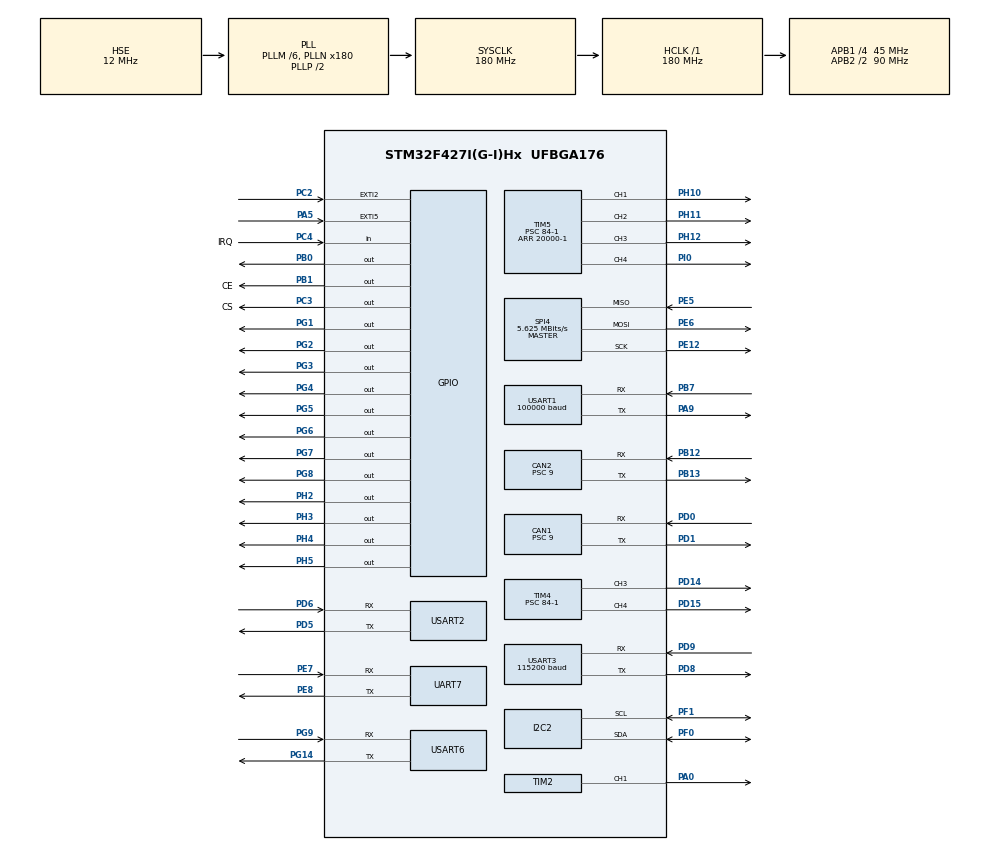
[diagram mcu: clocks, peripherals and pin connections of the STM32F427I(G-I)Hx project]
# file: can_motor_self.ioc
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CAN1.ABOM=DISABLE
CAN1.AWUM=DISABLE
CAN1.BS1=CAN_BS1_2TQ
CAN1.BS2=CAN_BS2_2TQ
CAN1.CalculateBaudRate=1000000
CAN1.CalculateTimeBit=1000
CAN1.CalculateTimeQuantum=200.0
CAN1.Prescaler=9
CAN1.TTCM=DISABLE
CAN2.BS1=CAN_BS1_2TQ
CAN2.BS2=CAN_BS2_2TQ
CAN2.CalculateBaudRate=1000000
CAN2.CalculateTimeBit=1000
CAN2.CalculateTimeQuantum=200.0
CAN2.Prescaler=9
Dma.Request0=USART2_RX
Dma.Request1=USART2_TX
Dma.Request2=USART3_RX
Dma.Request3=USART6_RX
Dma.USART2_RX.0.Direction=DMA_PERIPH_TO_MEMORY
Dma.USART2_RX.0.FIFOMode=DMA_FIFOMODE_DISABLE
Dma.USART2_RX.0.Instance=DMA1_Stream5
Dma.USART2_RX.0.MemDataAlignment=DMA_MDATAALIGN_BYTE
Dma.USART2_RX.0.MemInc=DMA_MINC_ENABLE
Dma.USART2_RX.0.Mode=DMA_NORMAL
Dma.USART2_RX.0.PeriphDataAlignment=DMA_PDATAALIGN_BYTE
Dma.USART2_RX.0.PeriphInc=DMA_PINC_DISABLE
Dma.USART2_RX.0.Priority=DMA_PRIORITY_LOW
Dma.USART2_TX.1.Direction=DMA_MEMORY_TO_PERIPH
Dma.USART2_TX.1.FIFOMode=DMA_FIFOMODE_DISABLE
Dma.USART2_TX.1.Instance=DMA1_Stream6
Dma.USART2_TX.1.MemDataAlignment=DMA_MDATAALIGN_BYTE
Dma.USART2_TX.1.MemInc=DMA_MINC_ENABLE
Dma.USART2_TX.1.Mode=DMA_NORMAL
Dma.USART2_TX.1.PeriphDataAlignment=DMA_PDATAALIGN_BYTE
Dma.USART2_TX.1.PeriphInc=DMA_PINC_DISABLE
Dma.USART2_TX.1.Priority=DMA_PRIORITY_LOW
Dma.USART3_RX.2.Direction=DMA_PERIPH_TO_MEMORY
Dma.USART3_RX.2.FIFOMode=DMA_FIFOMODE_DISABLE
Dma.USART3_RX.2.Instance=DMA1_Stream1
Dma.USART3_RX.2.MemDataAlignment=DMA_MDATAALIGN_BYTE
Dma.USART3_RX.2.MemInc=DMA_MINC_ENABLE
Dma.USART3_RX.2.Mode=DMA_NORMAL
Dma.USART3_RX.2.PeriphDataAlignment=DMA_PDATAALIGN_BYTE
Dma.USART3_RX.2.PeriphInc=DMA_PINC_DISABLE
Dma.USART3_RX.2.Priority=DMA_PRIORITY_LOW
Dma.USART6_RX.3.Direction=DMA_PERIPH_TO_MEMORY
Dma.USART6_RX.3.FIFOMode=DMA_FIFOMODE_DISABLE
Dma.USART6_RX.3.Instance=DMA2_Stream1
Dma.USART6_RX.3.MemDataAlignment=DMA_MDATAALIGN_BYTE
Dma.USART6_RX.3.MemInc=DMA_MINC_ENABLE
Dma.USART6_RX.3.Mode=DMA_NORMAL
Dma.USART6_RX.3.PeriphDataAlignment=DMA_PDATAALIGN_BYTE
Dma.USART6_RX.3.PeriphInc=DMA_PINC_DISABLE
Dma.USART6_RX.3.Priority=DMA_PRIORITY_LOW
Mcu.Family=STM32F4
Mcu.Name=STM32F427I(G-I)Hx
Mcu.Package=UFBGA176
NVIC.CAN1_RX0_IRQn=true\:0\:0\:false\:false\:true\:true\:true\:true
NVIC.CAN2_RX0_IRQn=true\:0\:0\:false\:false\:true\:true\:true\:true
NVIC.DMA1_Stream1_IRQn=true\:0\:0\:false\:false\:true\:false\:true\:true
NVIC.DMA1_Stream5_IRQn=true\:0\:0\:false\:false\:true\:false\:true\:true
NVIC.DMA1_Stream6_IRQn=true\:0\:0\:false\:false\:true\:false\:true\:true
NVIC.DMA2_Stream1_IRQn=true\:0\:0\:false\:false\:true\:false\:true\:true
NVIC.PriorityGroup=NVIC_PRIORITYGROUP_4
NVIC.TIM1_UP_TIM10_IRQn=true\:15\:0\:false\:false\:true\:false\:true\:true
NVIC.TimeBase=TIM1_UP_TIM10_IRQn
NVIC.TimeBaseIP=TIM1
NVIC.UART7_IRQn=true\:0\:0\:false\:false\:true\:true\:true\:true
NVIC.USART1_IRQn=true\:0\:0\:false\:false\:true\:true\:true\:true
NVIC.USART2_IRQn=true\:0\:0\:false\:false\:true\:true\:true\:true
NVIC.USART3_IRQn=true\:0\:0\:false\:false\:true\:true\:true\:true
NVIC.USART6_IRQn=true\:0\:0\:false\:false\:true\:true\:true\:true
PA0/WKUP.Signal=S_TIM2_CH1_ETR
PA1.Signal=S_TIM2_CH2
PA13.Mode=Serial_Wire
PA13.Signal=SYS_JTMS-SWDIO
PA14.Mode=Serial_Wire
PA14.Signal=SYS_JTCK-SWCLK
PA2.Signal=S_TIM2_CH3
PA5.Signal=GPXTI5
PA9.Mode=Asynchronous
PA9.Signal=USART1_TX
PB0.PinState=GPIO_PIN_SET
PB0.Signal=GPIO_Output
PB1.GPIO_Label=CE
PB1.GPIO_PuPd=GPIO_PULLUP
PB1.GPIO_Speed=GPIO_SPEED_FREQ_HIGH
PB1.PinState=GPIO_PIN_SET
PB1.Signal=GPIO_Output
PB12.Mode=CAN_Activate
PB12.Signal=CAN2_RX
PB13.Mode=CAN_Activate
PB13.Signal=CAN2_TX
PB7.Mode=Asynchronous
PB7.Signal=USART1_RX
PC2.Signal=GPXTI2
PC3.GPIO_Label=CS
PC3.GPIO_PuPd=GPIO_PULLUP
PC3.GPIO_Speed=GPIO_SPEED_FREQ_HIGH
PC3.PinState=GPIO_PIN_SET
PC3.Signal=GPIO_Output
PC4.GPIO_Label=IRQ
PC4.GPIO_PuPd=GPIO_PULLUP
PC4.Signal=GPIO_Input
PD0.Mode=CAN_Activate
PD0.Signal=CAN1_RX
PD1.Mode=CAN_Activate
PD1.Signal=CAN1_TX
PD14.Signal=S_TIM4_CH3
PD15.Signal=S_TIM4_CH4
PD5.Mode=Asynchronous
PD5.Signal=USART2_TX
PD6.Mode=Asynchronous
PD6.Signal=USART2_RX
PD8.Mode=Asynchronous
PD8.Signal=USART3_TX
PD9.Mode=Asynchronous
PD9.Signal=USART3_RX
PE12.Mode=Full_Duplex_Master
PE12.Signal=SPI4_SCK
PE5.Mode=Full_Duplex_Master
PE5.Signal=SPI4_MISO
PE6.Mode=Full_Duplex_Master
PE6.Signal=SPI4_MOSI
PE7.Mode=Asynchronous
PE7.Signal=UART7_RX
PE8.Mode=Asynchronous
PE8.Signal=UART7_TX
PF0.Mode=I2C
PF0.Signal=I2C2_SDA
PF1.Mode=I2C
PF1.Signal=I2C2_SCL
PG1.GPIO_ModeDefaultOutputPP=GPIO_MODE_OUTPUT_PP
PG1.GPIO_PuPd=GPIO_PULLUP
PG1.Signal=GPIO_Output
PG14.Mode=Asynchronous
PG14.Signal=USART6_TX
PG2.Signal=GPIO_Output
PG3.Signal=GPIO_Output
PG4.Signal=GPIO_Output
PG5.Signal=GPIO_Output
PG6.Signal=GPIO_Output
PG7.Signal=GPIO_Output
PG8.Signal=GPIO_Output
PG9.Mode=Asynchronous
PG9.Signal=USART6_RX
PH0/OSC_IN.Mode=HSE-External-Oscillator
PH0/OSC_IN.Signal=RCC_OSC_IN
PH1/OSC_OUT.Mode=HSE-External-Oscillator
PH1/OSC_OUT.Signal=RCC_OSC_OUT
PH10.Signal=S_TIM5_CH1
PH11.Signal=S_TIM5_CH2
PH12.Signal=S_TIM5_CH3
PH2.GPIO_PuPd=GPIO_PULLUP
PH2.Signal=GPIO_Output
PH3.GPIO_PuPd=GPIO_PULLUP
PH3.Signal=GPIO_Output
PH4.GPIO_PuPd=GPIO_PULLUP
PH4.PinState=GPIO_PIN_SET
PH4.Signal=GPIO_Output
PH5.GPIO_PuPd=GPIO_PULLUP
PH5.PinState=GPIO_PIN_RESET
PH5.Signal=GPIO_Output
PI0.Signal=S_TIM5_CH4
ProjectManager.HeapSize=0x200
ProjectManager.StackSize=0x400
ProjectManager.TargetToolchain=MDK-ARM V5.32
RCC.48MHZClocksFreq_Value=90000000
RCC.AHBFreq_Value=180000000
RCC.APB1CLKDivider=RCC_HCLK_DIV4
RCC.APB1Freq_Value=45000000
RCC.APB1TimFreq_Value=90000000
RCC.APB2CLKDivider=RCC_HCLK_DIV2
RCC.APB2Freq_Value=90000000
RCC.APB2TimFreq_Value=180000000
RCC.CortexFreq_Value=180000000
RCC.HCLKFreq_Value=180000000
RCC.HSE_VALUE=12000000
RCC.HSI_VALUE=16000000
RCC.LSE_VALUE=32768
RCC.PLLM=6
RCC.PLLN=180
RCC.PLLSourceVirtual=RCC_PLLSOURCE_HSE
RCC.SYSCLKFreq_VALUE=180000000
RCC.SYSCLKSource=RCC_SYSCLKSOURCE_PLLCLK
RCC.VCOOutputFreq_Value=360000000
SH.S_TIM2_CH1_ETR.0=TIM2_CH1,PWM Generation1 CH1
SH.S_TIM2_CH2.0=TIM2_CH2
SH.S_TIM2_CH3.0=TIM2_CH3
SH.S_TIM4_CH3.0=TIM4_CH3,PWM Generation3 CH3
SH.S_TIM4_CH4.0=TIM4_CH4,PWM Generation4 CH4
SH.S_TIM5_CH1.0=TIM5_CH1,PWM Generation1 CH1
SH.S_TIM5_CH2.0=TIM5_CH2,PWM Generation2 CH2
SH.S_TIM5_CH3.0=TIM5_CH3,PWM Generation3 CH3
SH.S_TIM5_CH4.0=TIM5_CH4,PWM Generation4 CH4
SPI4.BaudRatePrescaler=SPI_BAUDRATEPRESCALER_16
SPI4.CLKPhase=SPI_PHASE_1EDGE
SPI4.CLKPolarity=SPI_POLARITY_LOW
SPI4.CRCCalculation=SPI_CRCCALCULATION_DISABLE
SPI4.CalculateBaudRate=5.625 MBits/s
SPI4.DataSize=SPI_DATASIZE_8BIT
SPI4.Direction=SPI_DIRECTION_2LINES
SPI4.Mode=SPI_MODE_MASTER
SPI4.VirtualType=VM_MASTER
TIM2.AutoReloadPreload=TIM_AUTORELOAD_PRELOAD_ENABLE
TIM2.Channel-PWM\ Generation1\ CH1=TIM_CHANNEL_1
TIM2.Period=2000
TIM2.Prescaler=180-1
TIM2.Pulse-PWM\ Generation1\ CH1=0
TIM4.AutoReloadPreload=TIM_AUTORELOAD_PRELOAD_ENABLE
TIM4.Channel-PWM\ Generation3\ CH3=TIM_CHANNEL_3
TIM4.Channel-PWM\ Generation4\ CH4=TIM_CHANNEL_4
TIM4.Period=20000-1
TIM4.Prescaler=84-1
TIM5.AutoReloadPreload=TIM_AUTORELOAD_PRELOAD_ENABLE
TIM5.Channel-PWM\ Generation1\ CH1=TIM_CHANNEL_1
TIM5.Channel-PWM\ Generation2\ CH2=TIM_CHANNEL_2
TIM5.Channel-PWM\ Generation3\ CH3=TIM_CHANNEL_3
TIM5.Channel-PWM\ Generation4\ CH4=TIM_CHANNEL_4
TIM5.Period=20000-1
TIM5.Prescaler=84-1
UART7.VirtualMode=Asynchronous
USART1.BaudRate=100000
USART1.Mode=MODE_RX
USART1.VirtualMode=VM_ASYNC
USART2.VirtualMode=VM_ASYNC
USART3.BaudRate=115200
USART3.VirtualMode=VM_ASYNC
USART6.VirtualMode=VM_ASYNC
VP_SYS_VS_tim1.Mode=TIM1
VP_TIM2_VS_ClockSourceINT.Mode=Internal
board=custom

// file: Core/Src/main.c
/* USER CODE BEGIN Header */
/**
  ******************************************************************************
  * @file           : main.c
  * @brief          : Main program body
  ******************************************************************************
  * @attention
  *
  * Copyright (c) 2024 STMicroelectronics.
  * All rights reserved.
  *
  * This software is licensed under terms that can be found in the LICENSE file
  * in the root directory of this software component.
  * If no LICENSE file comes with this software, it is provided AS-IS.
  *
  ******************************************************************************
  */
/* USER CODE END Header */
#include "main.h"
#include "can.h"
#include "dma.h"
#include "i2c.h"
#include "spi.h"
#include "tim.h"
#include "usart.h"
#include "gpio.h"

/* USER CODE BEGIN Includes */
#include "CAN_receive.h"
#include "bsp_can.h"
#include "A_bsp.h"
#include "motor.h"
#include "Servos.h"
#include "nrf24L01.h"
#include "stdio.h"
#include "remote_control.h"
#include "Vofa_firewater.h"
#include "JY901.h"
#include "JY901_struct.h"
/* USER CODE END Includes */

/* USER CODE BEGIN PV */
extern User_USART JY901_data;
/* USER CODE END PV */

void SystemClock_Config(void);

int main(void)
{

  /* MCU Configuration--------------------------------------------------------*/

  /* Reset of all peripherals, Initializes the Flash interface and the Systick. */
  HAL_Init();

  /* Configure the system clock */
  SystemClock_Config();

  /* Initialize all configured peripherals */
  MX_GPIO_Init();
  MX_DMA_Init();
  MX_CAN1_Init();
  MX_TIM2_Init();
  MX_SPI4_Init();
  MX_USART2_UART_Init();
  MX_I2C2_Init();
  MX_TIM5_Init();
  MX_USART1_UART_Init();
  MX_CAN2_Init();
  MX_TIM4_Init();
  MX_USART3_UART_Init();
  MX_UART7_Init();
  MX_USART6_UART_Init();

  /* Infinite loop */
  /* USER CODE BEGIN WHILE */
//	chassis_init(&chassis_move);

	User_USART_Init(&JY901_data);
	HAL_UART_Receive_DMA(&huart6,JY901_data.RxBuffer,RXBUFFER_LEN);
  while (1)
  {
		HAL_UART_Receive_DMA(&huart6,JY901_data.RxBuffer,RXBUFFER_LEN);//开启dma接收到接收数组，长度9Byte
		JY901_Process();
		HAL_Delay(1);

    /* USER CODE END WHILE */

  }
}

void SystemClock_Config(void)
{
  RCC_OscInitTypeDef RCC_OscInitStruct = {0};
  RCC_ClkInitTypeDef RCC_ClkInitStruct = {0};

  /** Configure the main internal regulator output voltage
  */
  __HAL_RCC_PWR_CLK_ENABLE();
  __HAL_PWR_VOLTAGESCALING_CONFIG(PWR_REGULATOR_VOLTAGE_SCALE1);

  /** Initializes the RCC Oscillators according to the specified parameters
  * in the RCC_OscInitTypeDef structure.
  */
  RCC_OscInitStruct.OscillatorType = RCC_OSCILLATORTYPE_HSE;
  RCC_OscInitStruct.HSEState = RCC_HSE_ON;
  RCC_OscInitStruct.PLL.PLLState = RCC_PLL_ON;
  RCC_OscInitStruct.PLL.PLLSource = RCC_PLLSOURCE_HSE;
  RCC_OscInitStruct.PLL.PLLM = 6;
  RCC_OscInitStruct.PLL.PLLN = 180;
  RCC_OscInitStruct.PLL.PLLP = RCC_PLLP_DIV2;
  RCC_OscInitStruct.PLL.PLLQ = 4;
  if (HAL_RCC_OscConfig(&RCC_OscInitStruct) != HAL_OK)
  {
    Error_Handler();
  }

  /** Activate the Over-Drive mode
  */
  if (HAL_PWREx_EnableOverDrive() != HAL_OK)
  {
    Error_Handler();
  }

  /** Initializes the CPU, AHB and APB buses clocks
  */
  RCC_ClkInitStruct.ClockType = RCC_CLOCKTYPE_HCLK|RCC_CLOCKTYPE_SYSCLK
                              |RCC_CLOCKTYPE_PCLK1|RCC_CLOCKTYPE_PCLK2;
  RCC_ClkInitStruct.SYSCLKSource = RCC_SYSCLKSOURCE_PLLCLK;
  RCC_ClkInitStruct.AHBCLKDivider = RCC_SYSCLK_DIV1;
  RCC_ClkInitStruct.APB1CLKDivider = RCC_HCLK_DIV4;
  RCC_ClkInitStruct.APB2CLKDivider = RCC_HCLK_DIV2;

  if (HAL_RCC_ClockConfig(&RCC_ClkInitStruct, FLASH_LATENCY_5) != HAL_OK)
  {
    Error_Handler();
  }
}

/* USER CODE BEGIN 4 */

void HAL_UART_RxCpltCallback(UART_HandleTypeDef *huart)
{

}
/* USER CODE END 4 */

void HAL_TIM_PeriodElapsedCallback(TIM_HandleTypeDef *htim)
{
  if (htim->Instance == TIM1) {
    HAL_IncTick();
  }
}

void Error_Handler(void)
{
  __disable_irq();
  while (1)
  {
  }
}
